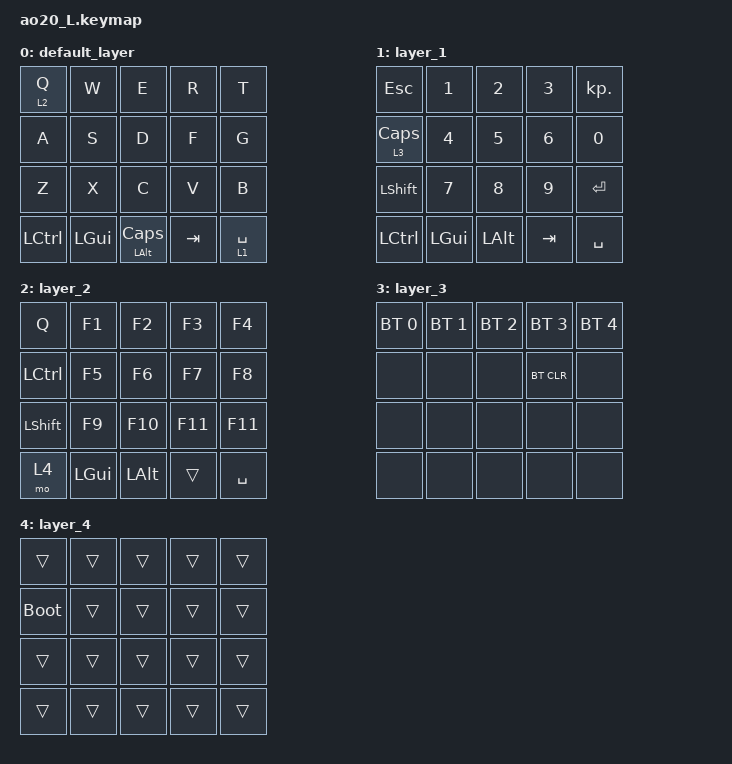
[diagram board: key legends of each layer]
#include <behaviors.dtsi>
#include <dt-bindings/zmk/bt.h>
#include <dt-bindings/zmk/keys.h>

/ {
    combos {
        compatible = "zmk,combos";

        LShift {
            bindings = <&kp LEFT_SHIFT>;
            key-positions = <18 19>;
            layers = <0>;
        };

        LEsc {
            bindings = <&kp ESC>;
            key-positions = <19 14>;
            layers = <0>;
        };
    };

    behaviors {
        TAPTAP: TAPTAP {
            compatible = "zmk,behavior-hold-tap";
            label = "TAPTAP";
            bindings = <&kp>, <&kp>;

            #binding-cells = <2>;
            tapping-term-ms = <200>;
            quick-tap-ms = <180>;
            require-prior-idle-ms = <150>;
            flavor = "tap-preferred";
        };
    };

    keymap {
        compatible = "zmk,keymap";

        default_layer {
            bindings = <
&lt 2 Q    &kp W     &kp E              &kp R    &kp T
&kp A      &kp S     &kp D              &kp F    &kp G
&kp Z      &kp X     &kp C              &kp V    &kp B
&kp LCTRL  &kp LGUI  &TAPTAP LALT CAPS  &kp TAB  &lt 1 SPACE
            >;
        };

        layer_1 {
            bindings = <
&kp ESC     &kp NUMBER_1  &kp NUMBER_2  &kp N3   &kp KP_DOT
&lt 3 CAPS  &kp N4        &kp N5        &kp N6   &kp N0
&kp LSHFT   &kp N7        &kp N8        &kp N9   &kp ENTER
&kp LCTRL   &kp LGUI      &kp LALT      &kp TAB  &kp SPACE
            >;
        };

        layer_2 {
            bindings = <
&kp Q      &kp F1    &kp F2    &kp F3   &kp F4
&kp LCTRL  &kp F5    &kp F6    &kp F7   &kp F8
&kp LSHFT  &kp F9    &kp F10   &kp F11  &kp F11
&mo 4      &kp LGUI  &kp LALT  &trans   &kp SPACE
            >;
        };

        layer_3 {
            bindings = <
&bt BT_SEL 0  &bt BT_SEL 1  &bt BT_SEL 2  &bt BT_SEL 3  &bt BT_SEL 4
&none         &none         &none         &bt BT_CLR    &none
&none         &none         &none         &none         &none
&none         &none         &none         &none         &none
            >;
        };

        layer_4 {
            bindings = <
&trans       &trans  &trans  &trans  &trans
&bootloader  &trans  &trans  &trans  &trans
&trans       &trans  &trans  &trans  &trans
&trans       &trans  &trans  &trans  &trans
            >;
        };
    };
};
